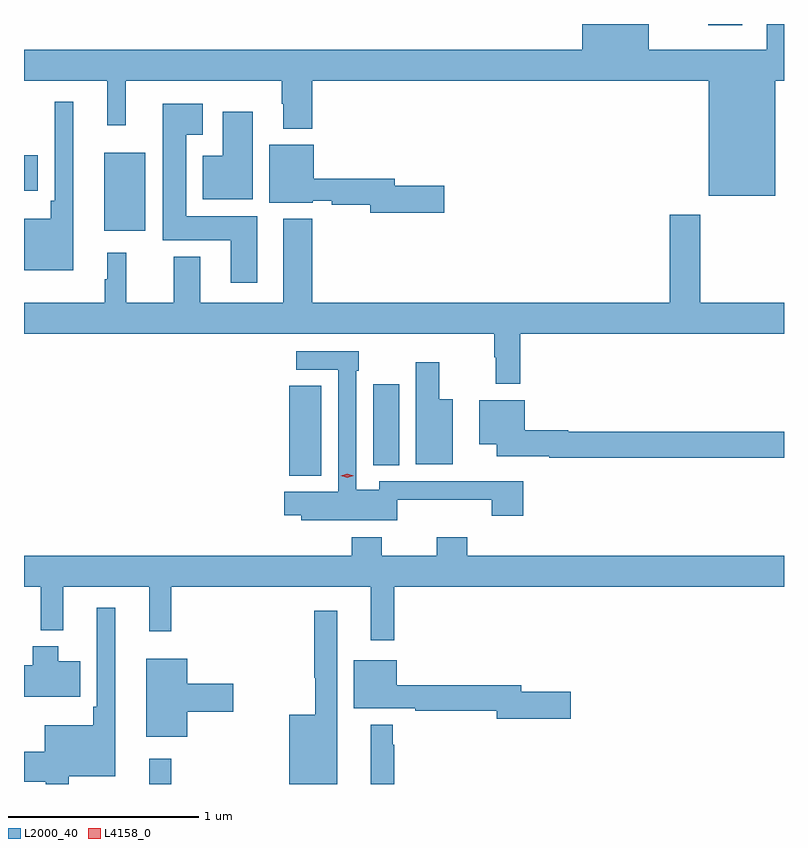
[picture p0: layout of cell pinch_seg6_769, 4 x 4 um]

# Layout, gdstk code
import gdstk
lib = gdstk.Library(unit=1e-6, precision=1e-09)
def R(c, l, rs):  # rectangles x0, y0, x1, y1
    for r in rs: c.add(gdstk.rectangle(r[:2], r[2:], *l))
def P(c, l, *ps):  # polygons
    for p in ps: c.add(gdstk.Polygon(p, *l))
L2000_40 = (2000, 40)
L4158_0 = (4158, 0)

pinch_seg6_769 = lib.new_cell('pinch_seg6_769')
R(pinch_seg6_769, L2000_40, [(286.28,956.955,286.397,957.088), (287.018,958.577,287.185,959.051), (287.459,958.633,287.596,959.059), (286.043,959.867,286.258,960.277), (285.621,960.077,285.694,960.265), (289.221,960.948,289.402,960.955)])
P(pinch_seg6_769, L2000_40, [(289.576,960.656),(289.621,960.656),(289.621,960.955),(289.529,960.955),(289.529,960.82),(288.91,960.82),(288.91,960.955),(288.56,960.955),(288.56,960.82),(285.621,960.82),(285.621,960.656),(286.058,960.656),(286.058,960.423),(286.157,960.423),(286.157,960.656),(286.978,960.656),(286.978,960.536),(286.985,960.536),(286.985,960.404),(287.138,960.404),(287.138,960.656),(289.226,960.656),(289.226,960.05),(289.576,960.05)],
  [(285.88,960.547),(285.783,960.547),(285.783,960.025),(285.763,960.025),(285.763,959.929),(285.621,959.929),(285.621,959.66),(285.88,959.66)],
  [(286.849,959.944),(286.474,959.944),(286.474,960.371),(286.561,960.371),(286.561,960.535),(286.352,960.535),(286.352,959.816),(286.709,959.816),(286.709,959.592),(286.849,959.592)],
  [(286.825,960.493),(286.667,960.493),(286.667,960.262),(286.562,960.262),(286.562,960.032),(286.825,960.032)],
  [(287.833,960.104),(287.572,960.104),(287.572,960.14),(287.146,960.14),(287.146,960.319),(286.913,960.319),(286.913,960.014),(287.142,960.014),(287.142,960.024),(287.242,960.024),(287.242,960.004),(287.444,960.004),(287.444,959.962),(287.833,959.962)],
  [(288.233,959.324),(289.621,959.324),(289.621,959.488),(289.179,959.488),(289.179,959.95),(289.019,959.95),(289.019,959.488),(287.138,959.488),(287.138,959.929),(286.985,959.929),(286.985,959.488),(286.549,959.488),(286.549,959.731),(286.409,959.731),(286.409,959.488),(286.158,959.488),(286.158,959.752),(286.058,959.752),(286.058,959.612),(286.047,959.612),(286.047,959.488),(285.621,959.488),(285.621,959.324),(288.097,959.324),(288.097,959.201),(288.105,959.201),(288.105,959.061),(288.233,959.061)],
  [(287.586,958.451),(288.083,958.451),(288.083,958.368),(288.248,958.368),(288.248,958.549),(287.999,958.549),(287.999,958.548),(287.49,958.548),(287.49,958.504),(287.37,958.504),(287.37,959.129),(287.383,959.129),(287.383,959.232),(287.055,959.232),(287.055,959.136),(287.274,959.136),(287.274,958.492),(286.992,958.492),(286.992,958.37),(287.079,958.37),(287.079,958.343),(287.586,958.343)],
  [(287.878,958.981),(287.806,958.981),(287.806,959.176),(287.684,959.176),(287.684,958.637),(287.878,958.637)],
  [(289.621,958.808),(288.486,958.808),(288.486,958.816),(288.256,958.816),(288.256,958.975),(288.017,958.975),(288.017,958.742),(288.11,958.742),(288.11,958.679),(288.386,958.679),(288.386,958.672),(289.621,958.672)],
  [(285.621,957.992),(285.709,957.992),(285.709,957.764),(285.827,957.764),(285.827,957.992),(286.28,957.992),(286.28,957.759),(286.397,957.759),(286.397,957.992),(287.447,957.992),(287.447,957.711),(287.569,957.711),(287.569,957.992),(289.621,957.992),(289.621,958.156),(287.954,958.156),(287.954,958.255),(287.794,958.255),(287.794,958.156),(287.505,958.156),(287.505,958.255),(287.345,958.255),(287.345,958.156),(285.621,958.156)],
  [(285.856,956.996),(286.102,956.996),(286.102,957.883),(286.005,957.883),(286.005,957.361),(285.985,957.361),(285.985,957.265),(285.731,957.265),(285.731,957.124),(285.621,957.124),(285.621,956.966),(285.735,956.966),(285.735,956.955),(285.856,956.955)],
  [(287.269,957.868),(287.148,957.868),(287.148,957.515),(287.155,957.515),(287.155,957.319),(287.018,957.319),(287.018,956.955),(287.269,956.955)],
  [(285.916,957.601),(285.802,957.601),(285.802,957.679),(285.668,957.679),(285.668,957.579),(285.621,957.579),(285.621,957.413),(285.916,957.413)],
  [(286.48,957.335),(286.723,957.335),(286.723,957.482),(286.48,957.482),(286.48,957.613),(286.265,957.613),(286.265,957.203),(286.48,957.203)],
  [(288.499,957.44),(288.238,957.44),(288.238,957.476),(287.584,957.476),(287.584,957.607),(287.357,957.607),(287.357,957.353),(287.68,957.353),(287.68,957.34),(288.11,957.34),(288.11,957.298),(288.499,957.298)],
  [(287.569,957.161),(287.562,957.161),(287.562,957.268),(287.447,957.268),(287.447,956.955),(287.569,956.955)])
P(pinch_seg6_769, L4158_0, [(287.322,958.567),(287.287,958.577),(287.287,958.577),(287.287,958.577),(287.322,958.587),(287.357,958.578),(287.357,958.577),(287.357,958.577)])

lib.write_gds('pinch_seg6_769.gds')
